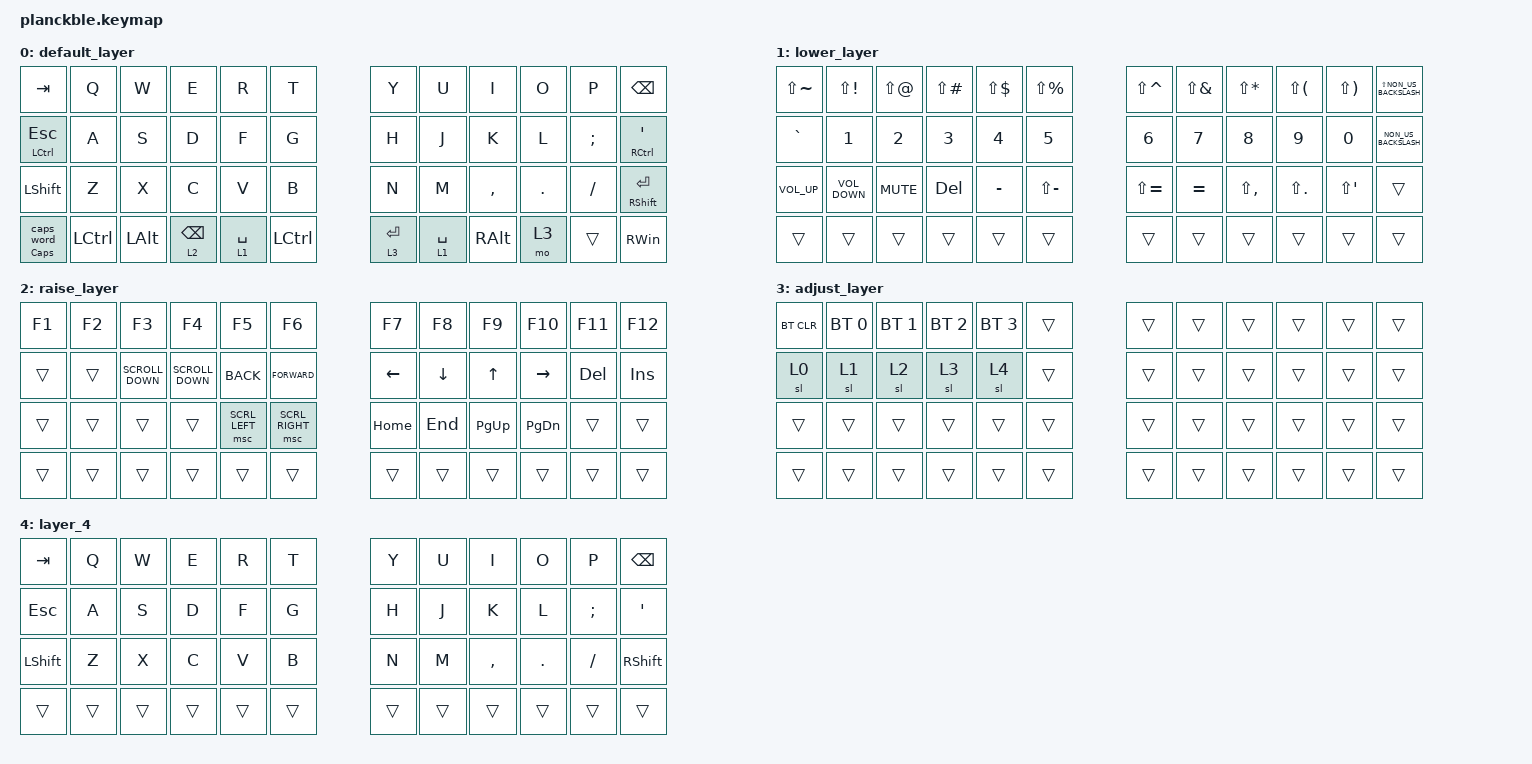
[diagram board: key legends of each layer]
/*
 * Copyright (c) 2021 The ZMK Contributors
 *
 * SPDX-License-Identifier: MIT
 */

#include <behaviors.dtsi>
#include <dt-bindings/zmk/bt.h>
#include <dt-bindings/zmk/keys.h>
#include <dt-bindings/zmk/pointing.h>

&lt {
    flavor = "balanced";
    tapping-term-ms = <200>;
};

/ {
    combos {
        compatible = "zmk,combos";

        lsft {
            bindings = <&kp LEFT_SHIFT>;
            key-positions = <14 15>;
            layers = <0>;
        };

        rshft {
            bindings = <&kp RIGHT_SHIFT>;
            key-positions = <21 20>;
            layers = <0>;
        };

        lpar {
            bindings = <&kp LEFT_PARENTHESIS>;
            key-positions = <16 15>;
            layers = <0>;
        };

        rpar {
            bindings = <&kp RIGHT_PARENTHESIS>;
            key-positions = <20 19>;
            layers = <0>;
        };

        lbrace {
            bindings = <&kp LEFT_BRACE>;
            key-positions = <4 3>;
            layers = <0>;
        };

        rbrace {
            bindings = <&kp RIGHT_BRACE>;
            key-positions = <7 8>;
            layers = <0>;
        };

        lbrack {
            bindings = <&kp LEFT_BRACKET>;
            key-positions = <28 27>;
            layers = <0>;
        };

        rbrack {
            bindings = <&kp RIGHT_BRACKET>;
            key-positions = <32 31>;
            layers = <0>;
        };

        cplus {
            bindings = <&kp PLUS>;
            key-positions = <17 18>;
            layers = <0>;
        };

        cminus {
            bindings = <&kp KP_MINUS>;
            key-positions = <29 30>;
            layers = <0>;
        };

        ccaps {
            bindings = <&kp CAPSLOCK>;
            key-positions = <13 14 15 16>;
            layers = <0>;
        };

        S_Ins {
            bindings = <&kp LS(INSERT)>;
            key-positions = <14 15 8>;
            layers = <0>;
        };

        combo_f2 {
            bindings = <&kp F2>;
            key-positions = <2 3>;
            layers = <0>;
        };

        combo_ret {
            bindings = <&kp ENTER>;
            key-positions = <16 19>;
            layers = <0>;
        };
    };

    behaviors {
        auto_shift: auto_shift {
            compatible = "zmk,behavior-hold-tap";
            label = "AUTO_SHIFT";
            bindings = <&kp>, <&kp>;

            #binding-cells = <2>;
            tapping-term-ms = <175>;
            quick-tap-ms = <0>;
            flavor = "tap-preferred";
        };

        caps: caps {
            compatible = "zmk,behavior-hold-tap";
            label = "CAPS";
            bindings = <&kp>, <&caps_word>;

            #binding-cells = <2>;
            tapping-term-ms = <175>;
            flavor = "tap-preferred";
        };
    };

    keymap {
        compatible = "zmk,keymap";

        default_layer {
            bindings = <
&kp TAB           &kp Q      &kp W     &kp E            &kp R        &kp T      &kp Y        &kp U        &kp I          &kp O    &kp P     &kp BSPC
&mt LCTRL ESCAPE  &kp A      &kp S     &kp D            &kp F        &kp G      &kp H        &kp J        &kp K          &kp L    &kp SEMI  &mt RCTRL APOSTROPHE
&kp LSHIFT        &kp Z      &kp X     &kp C            &kp V        &kp B      &kp N        &kp M        &kp COMMA      &kp DOT  &kp FSLH  &mt RSHIFT ENTER
&caps CAPS 0      &kp LCTRL  &kp LALT  &lt 2 BACKSPACE  &lt 1 SPACE  &kp LCTRL  &lt 3 ENTER  &lt 1 SPACE  &kp RIGHT_ALT  &mo 3    &trans    &kp RIGHT_WIN
            >;
        };

        lower_layer {
            bindings = <
&kp LS(TILDE)  &kp LS(EXCL)       &kp LS(AT)    &kp LS(POUND)  &kp LS(DLLR)  &kp LS(PRCNT)  &kp LS(CARET)  &kp LS(AMPS)  &kp LS(STAR)   &kp LS(LPAR)    &kp LS(RPAR)          &kp LS(NON_US_BACKSLASH)
&kp GRAVE      &kp NUMBER_1       &kp NUMBER_2  &kp NUMBER_3   &kp NUMBER_4  &kp NUMBER_5   &kp NUMBER_6   &kp N7        &kp NUMBER_8   &kp NUMBER_9    &kp NUMBER_0          &kp NON_US_BACKSLASH
&kp K_VOL_UP   &kp K_VOLUME_DOWN  &kp K_MUTE    &kp DEL        &kp MINUS     &kp LS(MINUS)  &kp LS(EQUAL)  &kp EQUAL     &kp LS(COMMA)  &kp LS(PERIOD)  &kp LS(SINGLE_QUOTE)  &trans
&trans         &trans             &trans        &trans         &trans        &trans         &trans         &trans        &trans         &trans          &trans                &trans
            >;
        };

        raise_layer {
            bindings = <
&kp F1  &kp F2  &kp F3             &kp F4             &kp F5          &kp F6           &kp F7          &kp F8          &kp F9        &kp F10        &kp F11     &kp F12
&trans  &trans  &kp K_SCROLL_DOWN  &kp K_SCROLL_DOWN  &kp K_BACK      &kp K_FORWARD    &kp LEFT_ARROW  &kp DOWN_ARROW  &kp UP_ARROW  &kp RIGHT      &kp DELETE  &kp INS
&trans  &trans  &trans             &trans             &msc SCRL_LEFT  &msc SCRL_RIGHT  &kp HOME        &kp END         &kp PAGE_UP   &kp PAGE_DOWN  &trans      &trans
&trans  &trans  &trans             &trans             &trans          &trans           &trans          &trans          &trans        &trans         &trans      &trans
            >;
        };

        adjust_layer {
            bindings = <
&bt BT_CLR  &bt BT_SEL 0  &bt BT_SEL 1  &bt BT_SEL 2  &bt BT_SEL 3  &trans  &trans  &trans  &trans  &trans  &trans  &trans
&sl 0       &sl 1         &sl 2         &sl 3         &sl 4         &trans  &trans  &trans  &trans  &trans  &trans  &trans
&trans      &trans        &trans        &trans        &trans        &trans  &trans  &trans  &trans  &trans  &trans  &trans
&trans      &trans        &trans        &trans        &trans        &trans  &trans  &trans  &trans  &trans  &trans  &trans
            >;
        };

        layer_4 {
            bindings = <
&kp TAB    &kp Q   &kp W   &kp E   &kp R   &kp T   &kp Y   &kp U   &kp I      &kp O    &kp P     &kp BSPC
&kp ESC    &kp A   &kp S   &kp D   &kp F   &kp G   &kp H   &kp J   &kp K      &kp L    &kp SEMI  &kp SQT
&kp LSHFT  &kp Z   &kp X   &kp C   &kp V   &kp B   &kp N   &kp M   &kp COMMA  &kp DOT  &kp FSLH  &kp RSHFT
&trans     &trans  &trans  &trans  &trans  &trans  &trans  &trans  &trans     &trans   &trans    &trans
            >;
        };
    };
};
